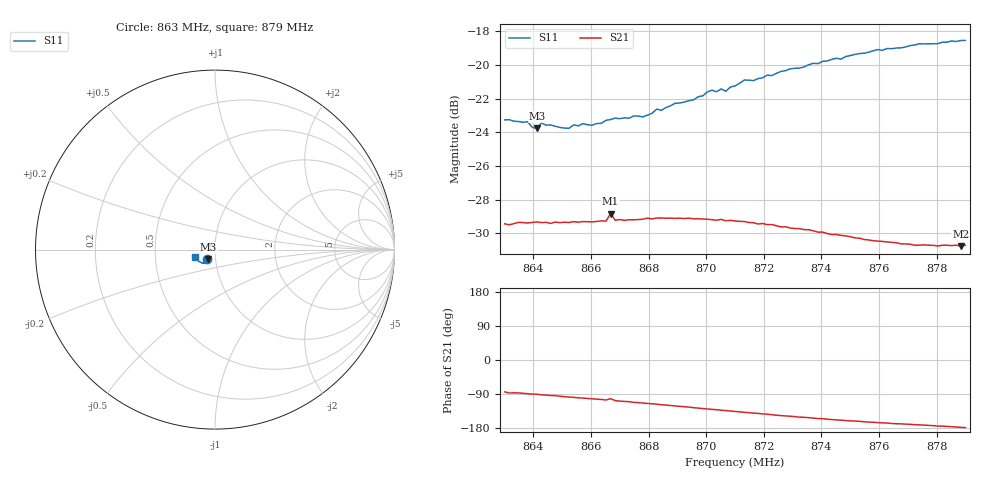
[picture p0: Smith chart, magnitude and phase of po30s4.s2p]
# HZ S RI R 50
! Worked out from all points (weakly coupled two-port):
!   101 points, 863 MHz to 879 MHz, reference 50 ohm
!   highest |S21| = -28.82 dB at 866.68 MHz (marker M1); lowest = -30.8 dB at 878.84 MHz (marker M2)
!   lowest |S11| = -23.8 dB at 864.12 MHz (marker M3), VSWR 1.14, Z = 46.2 - j4.96 ohm
!   |S11| at or under -10 dB: start of sweep to end of sweep
!   S12 and S22 are empty: the file has one direction only
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8.63e8  -0.0425 -0.054  0.0035 -0.0336  0 0  0 0
8.638e8  -0.0431 -0.0524  0.000603 -0.034  0 0  0 0
8.6412e8  -0.0367 -0.0534  -0.00024 -0.0342  0 0  0 0
8.6428e8  -0.0389 -0.0549  -0.00116 -0.034  0 0  0 0
8.6524e8  -0.0377 -0.0528  -0.00462 -0.0338  0 0  0 0
8.6572e8  -0.0352 -0.0569  -0.00629 -0.0337  0 0  0 0
8.6604e8  -0.0344 -0.0566  -0.00732 -0.0334  0 0  0 0
8.6652e8  -0.0339 -0.0595  -0.00922 -0.0331  0 0  0 0
8.6668e8  -0.0292 -0.0624  -0.00755 -0.0354  0 0  0 0
8.6684e8  -0.0356 -0.0598  -0.0102 -0.0331  0 0  0 0
8.678e8  -0.0335 -0.0616  -0.014 -0.0319  0 0  0 0
8.6828e8  -0.0354 -0.0649  -0.0157 -0.0314  0 0  0 0
8.6844e8  -0.0349 -0.0645  -0.0165 -0.031  0 0  0 0
8.702e8  -0.0432 -0.0723  -0.0225 -0.0265  0 0  0 0
8.7068e8  -0.0439 -0.0711  -0.0237 -0.025  0 0  0 0
8.71e8  -0.0463 -0.0733  -0.0247 -0.024  0 0  0 0
8.7132e8  -0.0495 -0.0754  -0.0255 -0.0229  0 0  0 0
8.7164e8  -0.0498 -0.0748  -0.0261 -0.0218  0 0  0 0
8.7372e8  -0.0671 -0.0757  -0.0288 -0.0145  0 0  0 0
8.7644e8  -0.0923 -0.063  -0.0291 -0.00639  0 0  0 0
8.7884e8  -0.1104 -0.0423  -0.029 -0.00118  0 0  0 0
8.79e8  -0.1111 -0.0405  -0.0292 -0.00079  0 0  0 0
